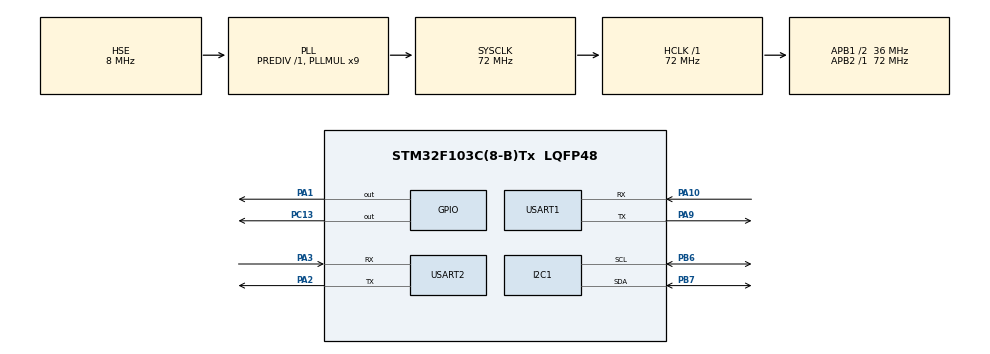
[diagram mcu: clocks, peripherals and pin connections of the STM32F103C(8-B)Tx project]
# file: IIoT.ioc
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FREERTOS.Tasks01=defaultTask,8,186,StartDefaultTask,Default,NULL,Dynamic,NULL,NULL;SensorTask,24,100,Sensor_Ctrl_Task,Default,NULL,Dynamic,NULL,NULL;ModbusTask,32,100,Modbus_Task,Default,NULL,Dynamic,NULL,NULL
FREERTOS.configMINIMAL_STACK_SIZE=64
FREERTOS.configTOTAL_HEAP_SIZE=10240
Mcu.Family=STM32F1
Mcu.Name=STM32F103C(8-B)Tx
Mcu.Package=LQFP48
NVIC.PriorityGroup=NVIC_PRIORITYGROUP_4
NVIC.TIM2_IRQn=true\:5\:0\:false\:false\:true\:true\:true\:true\:true
NVIC.TIM4_IRQn=true\:15\:0\:false\:false\:true\:false\:false\:true\:true
NVIC.TimeBase=TIM4_IRQn
NVIC.TimeBaseIP=TIM4
NVIC.USART1_IRQn=true\:5\:0\:false\:false\:true\:true\:true\:true\:true
NVIC.USART2_IRQn=true\:5\:0\:false\:false\:true\:true\:true\:true\:true
PA1.GPIO_ModeDefaultOutputPP=GPIO_MODE_OUTPUT_OD
PA1.GPIO_PuPd=GPIO_PULLUP
PA1.Signal=GPIO_Output
PA10.Mode=Asynchronous
PA10.Signal=USART1_RX
PA13.Mode=Serial_Wire
PA13.Signal=SYS_JTMS-SWDIO
PA14.Mode=Serial_Wire
PA14.Signal=SYS_JTCK-SWCLK
PA2.Mode=Asynchronous
PA2.Signal=USART2_TX
PA3.Mode=Asynchronous
PA3.Signal=USART2_RX
PA9.Mode=Asynchronous
PA9.Signal=USART1_TX
PB6.Mode=I2C
PB6.Signal=I2C1_SCL
PB7.Mode=I2C
PB7.Signal=I2C1_SDA
PC13-TAMPER-RTC.Signal=GPIO_Output
PC14-OSC32_IN.Mode=LSE-External-Oscillator
PC14-OSC32_IN.Signal=RCC_OSC32_IN
PC15-OSC32_OUT.Mode=LSE-External-Oscillator
PC15-OSC32_OUT.Signal=RCC_OSC32_OUT
PD0-OSC_IN.Mode=HSE-External-Oscillator
PD0-OSC_IN.Signal=RCC_OSC_IN
PD1-OSC_OUT.Mode=HSE-External-Oscillator
PD1-OSC_OUT.Signal=RCC_OSC_OUT
ProjectManager.HeapSize=0x200
ProjectManager.StackSize=0x400
ProjectManager.TargetToolchain=CMake
RCC.AHBFreq_Value=72000000
RCC.APB1CLKDivider=RCC_HCLK_DIV2
RCC.APB1Freq_Value=36000000
RCC.APB1TimFreq_Value=72000000
RCC.APB2Freq_Value=72000000
RCC.APB2TimFreq_Value=72000000
RCC.HCLKFreq_Value=72000000
RCC.PLLMUL=RCC_PLL_MUL9
RCC.PLLSourceVirtual=RCC_PLLSOURCE_HSE
RCC.SYSCLKFreq_VALUE=72000000
RCC.SYSCLKSource=RCC_SYSCLKSOURCE_PLLCLK
RCC.USBFreq_Value=72000000
TIM2.Period=50
TIM2.Prescaler=7199
TIM3.Prescaler=71
USART1.VirtualMode=VM_ASYNC
USART2.VirtualMode=VM_ASYNC
VP_FREERTOS_VS_CMSIS_V2.Mode=CMSIS_V2
VP_SYS_VS_tim4.Mode=TIM4
VP_TIM2_VS_ClockSourceINT.Mode=Internal
VP_TIM3_VS_ClockSourceINT.Mode=Internal
board=custom

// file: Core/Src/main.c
/* USER CODE BEGIN Header */
/**
  ******************************************************************************
  * @file           : main.c
  * @brief          : Main program body
  ******************************************************************************
  * @attention
  *
  * Copyright (c) 2026 STMicroelectronics.
  * All rights reserved.
  *
  * This software is licensed under terms that can be found in the LICENSE file
  * in the root directory of this software component.
  * If no LICENSE file comes with this software, it is provided AS-IS.
  *
  ******************************************************************************
  */
/* USER CODE END Header */
#include "main.h"
#include "cmsis_os.h"

/* USER CODE BEGIN Includes */
#include "queue.h"
#include "semphr.h"
#include "driver_oled.h"
#include "ds18b20.h"
#include "stdio.h"
#include "modbus.h"

/* USER CODE END Includes */

I2C_HandleTypeDef hi2c1;

TIM_HandleTypeDef htim2;
TIM_HandleTypeDef htim3;

UART_HandleTypeDef huart1;
UART_HandleTypeDef huart2;

/* Definitions for defaultTask */
osThreadId_t defaultTaskHandle;
const osThreadAttr_t defaultTask_attributes = {
  .name = "defaultTask",
  .stack_size = 186 * 4,
  .priority = (osPriority_t) osPriorityLow,
};
/* Definitions for SensorTask */
osThreadId_t SensorTaskHandle;
const osThreadAttr_t SensorTask_attributes = {
  .name = "SensorTask",
  .stack_size = 100 * 4,
  .priority = (osPriority_t) osPriorityNormal,
};
/* Definitions for ModbusTask */
osThreadId_t ModbusTaskHandle;
const osThreadAttr_t ModbusTask_attributes = {
  .name = "ModbusTask",
  .stack_size = 100 * 4,
  .priority = (osPriority_t) osPriorityAboveNormal,
};
/* USER CODE BEGIN PV */

QueueHandle_t g_xQueue;
SemaphoreHandle_t g_xMutex;
SemaphoreHandle_t g_Modbus_Rx_Sem;
SemaphoreHandle_t g_xUpdateTrigger;
volatile UBaseType_t g_defaultTask_WaterMark = 0;
volatile UBaseType_t g_SensorTask_WaterMark = 0;
volatile UBaseType_t g_ModbusTask_WaterMark = 0;
/* USER CODE END PV */

void SystemClock_Config(void);
static void MX_GPIO_Init(void);
static void MX_I2C1_Init(void);
static void MX_USART1_UART_Init(void);
static void MX_TIM2_Init(void);
static void MX_TIM3_Init(void);
static void MX_USART2_UART_Init(void);
void StartDefaultTask(void *argument);
void Sensor_Ctrl_Task(void *argument);
void Modbus_Task(void *argument);

int main(void)
{

  /* MCU Configuration--------------------------------------------------------*/

  /* Reset of all peripherals, Initializes the Flash interface and the Systick. */
  HAL_Init();

  /* Configure the system clock */
  SystemClock_Config();

  /* Initialize all configured peripherals */
  MX_GPIO_Init();
  MX_I2C1_Init();
  MX_USART1_UART_Init();
  MX_TIM2_Init();
  MX_TIM3_Init();
  MX_USART2_UART_Init();
  /* USER CODE BEGIN 2 */
  OLED_Init();
	// 清屏
	OLED_Clear();
  g_xMutex = xSemaphoreCreateMutex();
  if (g_xMutex == NULL) {
    while (1)
    {
      HAL_GPIO_TogglePin(GPIOC, GPIO_PIN_13);
      HAL_Delay(100);
    }
  }
  g_xQueue = xQueueCreate(6, sizeof(Data_t));
  if (g_xQueue == NULL) {
    while (1)
    {
      HAL_GPIO_TogglePin(GPIOC, GPIO_PIN_13);
      HAL_Delay(100);
    }
  }
  g_Modbus_Rx_Sem = xSemaphoreCreateBinary();
  if (g_Modbus_Rx_Sem == NULL) {
    while (1)
    {
      HAL_GPIO_TogglePin(GPIOC, GPIO_PIN_13);
      HAL_Delay(100);
    }
  }

  g_xUpdateTrigger = xSemaphoreCreateBinary();
  if (g_xUpdateTrigger == NULL) {
    while (1)
    {
      HAL_GPIO_TogglePin(GPIOC, GPIO_PIN_13);
      HAL_Delay(100);
    }
  }

  __HAL_TIM_CLEAR_IT(&htim2, TIM_IT_UPDATE);
  __HAL_TIM_ENABLE_IT(&htim2, TIM_IT_UPDATE);

  /* USER CODE END 2 */

  /* Init scheduler */
  osKernelInitialize();

  /* Create the thread(s) */
  /* creation of defaultTask */
  defaultTaskHandle = osThreadNew(StartDefaultTask, NULL, &defaultTask_attributes);

  /* creation of SensorTask */
  SensorTaskHandle = osThreadNew(Sensor_Ctrl_Task, NULL, &SensorTask_attributes);

  /* creation of ModbusTask */
  ModbusTaskHandle = osThreadNew(Modbus_Task, NULL, &ModbusTask_attributes);

  /* Start scheduler */
  osKernelStart();

  /* We should never get here as control is now taken by the scheduler */

  /* Infinite loop */
  while (1)
  {

  }
}

void SystemClock_Config(void)
{
  RCC_OscInitTypeDef RCC_OscInitStruct = {0};
  RCC_ClkInitTypeDef RCC_ClkInitStruct = {0};

  /** Initializes the RCC Oscillators according to the specified parameters
  * in the RCC_OscInitTypeDef structure.
  */
  RCC_OscInitStruct.OscillatorType = RCC_OSCILLATORTYPE_HSE;
  RCC_OscInitStruct.HSEState = RCC_HSE_ON;
  RCC_OscInitStruct.HSEPredivValue = RCC_HSE_PREDIV_DIV1;
  RCC_OscInitStruct.HSIState = RCC_HSI_ON;
  RCC_OscInitStruct.PLL.PLLState = RCC_PLL_ON;
  RCC_OscInitStruct.PLL.PLLSource = RCC_PLLSOURCE_HSE;
  RCC_OscInitStruct.PLL.PLLMUL = RCC_PLL_MUL9;
  if (HAL_RCC_OscConfig(&RCC_OscInitStruct) != HAL_OK)
  {
    Error_Handler();
  }

  /** Initializes the CPU, AHB and APB buses clocks
  */
  RCC_ClkInitStruct.ClockType = RCC_CLOCKTYPE_HCLK|RCC_CLOCKTYPE_SYSCLK
                              |RCC_CLOCKTYPE_PCLK1|RCC_CLOCKTYPE_PCLK2;
  RCC_ClkInitStruct.SYSCLKSource = RCC_SYSCLKSOURCE_PLLCLK;
  RCC_ClkInitStruct.AHBCLKDivider = RCC_SYSCLK_DIV1;
  RCC_ClkInitStruct.APB1CLKDivider = RCC_HCLK_DIV2;
  RCC_ClkInitStruct.APB2CLKDivider = RCC_HCLK_DIV1;

  if (HAL_RCC_ClockConfig(&RCC_ClkInitStruct, FLASH_LATENCY_2) != HAL_OK)
  {
    Error_Handler();
  }
}

static void MX_I2C1_Init(void)
{

  hi2c1.Instance = I2C1;
  hi2c1.Init.ClockSpeed = 100000;
  hi2c1.Init.DutyCycle = I2C_DUTYCYCLE_2;
  hi2c1.Init.OwnAddress1 = 0;
  hi2c1.Init.AddressingMode = I2C_ADDRESSINGMODE_7BIT;
  hi2c1.Init.DualAddressMode = I2C_DUALADDRESS_DISABLE;
  hi2c1.Init.OwnAddress2 = 0;
  hi2c1.Init.GeneralCallMode = I2C_GENERALCALL_DISABLE;
  hi2c1.Init.NoStretchMode = I2C_NOSTRETCH_DISABLE;
  if (HAL_I2C_Init(&hi2c1) != HAL_OK)
  {
    Error_Handler();
  }

}

static void MX_TIM2_Init(void)
{

  TIM_ClockConfigTypeDef sClockSourceConfig = {0};
  TIM_MasterConfigTypeDef sMasterConfig = {0};

  htim2.Instance = TIM2;
  htim2.Init.Prescaler = 7199;
  htim2.Init.CounterMode = TIM_COUNTERMODE_UP;
  htim2.Init.Period = 50;
  htim2.Init.ClockDivision = TIM_CLOCKDIVISION_DIV1;
  htim2.Init.AutoReloadPreload = TIM_AUTORELOAD_PRELOAD_DISABLE;
  if (HAL_TIM_Base_Init(&htim2) != HAL_OK)
  {
    Error_Handler();
  }
  sClockSourceConfig.ClockSource = TIM_CLOCKSOURCE_INTERNAL;
  if (HAL_TIM_ConfigClockSource(&htim2, &sClockSourceConfig) != HAL_OK)
  {
    Error_Handler();
  }
  sMasterConfig.MasterOutputTrigger = TIM_TRGO_RESET;
  sMasterConfig.MasterSlaveMode = TIM_MASTERSLAVEMODE_DISABLE;
  if (HAL_TIMEx_MasterConfigSynchronization(&htim2, &sMasterConfig) != HAL_OK)
  {
    Error_Handler();
  }

}

static void MX_TIM3_Init(void)
{

  TIM_ClockConfigTypeDef sClockSourceConfig = {0};
  TIM_MasterConfigTypeDef sMasterConfig = {0};

  htim3.Instance = TIM3;
  htim3.Init.Prescaler = 71;
  htim3.Init.CounterMode = TIM_COUNTERMODE_UP;
  htim3.Init.Period = 65535;
  htim3.Init.ClockDivision = TIM_CLOCKDIVISION_DIV1;
  htim3.Init.AutoReloadPreload = TIM_AUTORELOAD_PRELOAD_DISABLE;
  if (HAL_TIM_Base_Init(&htim3) != HAL_OK)
  {
    Error_Handler();
  }
  sClockSourceConfig.ClockSource = TIM_CLOCKSOURCE_INTERNAL;
  if (HAL_TIM_ConfigClockSource(&htim3, &sClockSourceConfig) != HAL_OK)
  {
    Error_Handler();
  }
  sMasterConfig.MasterOutputTrigger = TIM_TRGO_RESET;
  sMasterConfig.MasterSlaveMode = TIM_MASTERSLAVEMODE_DISABLE;
  if (HAL_TIMEx_MasterConfigSynchronization(&htim3, &sMasterConfig) != HAL_OK)
  {
    Error_Handler();
  }

}

static void MX_USART1_UART_Init(void)
{

  huart1.Instance = USART1;
  huart1.Init.BaudRate = 115200;
  huart1.Init.WordLength = UART_WORDLENGTH_8B;
  huart1.Init.StopBits = UART_STOPBITS_1;
  huart1.Init.Parity = UART_PARITY_NONE;
  huart1.Init.Mode = UART_MODE_TX_RX;
  huart1.Init.HwFlowCtl = UART_HWCONTROL_NONE;
  huart1.Init.OverSampling = UART_OVERSAMPLING_16;
  if (HAL_UART_Init(&huart1) != HAL_OK)
  {
    Error_Handler();
  }

}

static void MX_USART2_UART_Init(void)
{

  huart2.Instance = USART2;
  huart2.Init.BaudRate = 115200;
  huart2.Init.WordLength = UART_WORDLENGTH_8B;
  huart2.Init.StopBits = UART_STOPBITS_1;
  huart2.Init.Parity = UART_PARITY_NONE;
  huart2.Init.Mode = UART_MODE_TX_RX;
  huart2.Init.HwFlowCtl = UART_HWCONTROL_NONE;
  huart2.Init.OverSampling = UART_OVERSAMPLING_16;
  if (HAL_UART_Init(&huart2) != HAL_OK)
  {
    Error_Handler();
  }

}

static void MX_GPIO_Init(void)
{
  GPIO_InitTypeDef GPIO_InitStruct = {0};

  /* GPIO Ports Clock Enable */
  __HAL_RCC_GPIOC_CLK_ENABLE();
  __HAL_RCC_GPIOD_CLK_ENABLE();
  __HAL_RCC_GPIOA_CLK_ENABLE();
  __HAL_RCC_GPIOB_CLK_ENABLE();

  /*Configure GPIO pin Output Level */
  HAL_GPIO_WritePin(GPIOC, GPIO_PIN_13, GPIO_PIN_RESET);

  /*Configure GPIO pin Output Level */
  HAL_GPIO_WritePin(GPIOA, GPIO_PIN_1, GPIO_PIN_RESET);

  /*Configure GPIO pin : PC13 */
  GPIO_InitStruct.Pin = GPIO_PIN_13;
  GPIO_InitStruct.Mode = GPIO_MODE_OUTPUT_PP;
  GPIO_InitStruct.Pull = GPIO_NOPULL;
  GPIO_InitStruct.Speed = GPIO_SPEED_FREQ_LOW;
  HAL_GPIO_Init(GPIOC, &GPIO_InitStruct);

  /*Configure GPIO pin : PA1 */
  GPIO_InitStruct.Pin = GPIO_PIN_1;
  GPIO_InitStruct.Mode = GPIO_MODE_OUTPUT_OD;
  GPIO_InitStruct.Pull = GPIO_PULLUP;
  GPIO_InitStruct.Speed = GPIO_SPEED_FREQ_LOW;
  HAL_GPIO_Init(GPIOA, &GPIO_InitStruct);

}

void StartDefaultTask(void *argument)
{
  /* USER CODE BEGIN 5 */
  Data_t recv_data;
  char disp_buf[16];

  int16_t local_ang, local_loc, local_tar, local_kp;

  extern uint32_t g_param_cooldown;

  __HAL_UART_ENABLE_IT(&huart1, UART_IT_RXNE);
  __HAL_UART_ENABLE_IT(&huart2, UART_IT_RXNE);

  /* Infinite loop */
  for(;;)
  {
    if (xQueueReceive(g_xQueue, &recv_data, portMAX_DELAY) == pdTRUE)
    {
      while (xQueueReceive(g_xQueue, &recv_data, 0) == pdTRUE) {}

      xSemaphoreTake(g_xMutex, portMAX_DELAY); // 上锁

      sys_regs.current_angle = recv_data.angle;
      sys_regs.current_location = recv_data.location;

      if (HAL_GetTick() >= g_param_cooldown)
      {
          sys_regs.target_location = recv_data.target_location;
          sys_regs.angle_kp = recv_data.angle_kp;
          sys_regs.angle_ki = recv_data.angle_ki;
          sys_regs.angle_kd = recv_data.angle_kd;
          sys_regs.location_kp = recv_data.location_kp;
          sys_regs.location_ki = recv_data.location_ki;
          sys_regs.location_kd = recv_data.location_kd;
          sys_regs.run_mode = recv_data.run_mode;
      }

      local_ang = sys_regs.current_angle;
      local_loc = sys_regs.current_location;
      local_tar = sys_regs.target_location;
      local_kp = sys_regs.angle_kp;

      xSemaphoreGive(g_xMutex); // 解锁

      sprintf(disp_buf, "Ang:%-6d", local_ang);
      OLED_PrintString(0, 0, disp_buf);

      sprintf(disp_buf, "Loc:%-6d", local_loc);
      OLED_PrintString(0, 2, disp_buf);

      sprintf(disp_buf, "Tar:%-6d", local_tar);
      OLED_PrintString(0, 4, disp_buf);

      sprintf(disp_buf, "Kp:%-6d", local_kp);
      OLED_PrintString(0, 6, disp_buf);

      g_defaultTask_WaterMark = uxTaskGetStackHighWaterMark(NULL);
      vTaskDelay(pdMS_TO_TICKS(10));
    }
    else {
      HAL_GPIO_TogglePin(GPIOC, GPIO_PIN_13);  // LED 闪烁证明活着
      vTaskDelay(100);
    }
  }
  /* USER CODE END 5 */
}

void Sensor_Ctrl_Task(void *argument)
{
  /* USER CODE BEGIN Sensor_Ctrl_Task */
  uint8_t tx_frame[20];
  uint8_t sum = 0;
  /* Infinite loop */
  for(;;)
  {
    if (xSemaphoreTake(g_xUpdateTrigger, portMAX_DELAY) == pdTRUE)
    {
      xSemaphoreTake(g_xMutex, portMAX_DELAY);

      tx_frame[0] = 0xAA;
      tx_frame[1] = 0x55;
      tx_frame[2] = 0x03;
      tx_frame[3] = 15;

      tx_frame[4] = (sys_regs.target_location >> 8) & 0xFF;
      tx_frame[5] = sys_regs.target_location & 0xFF;
      tx_frame[6] = (sys_regs.angle_kp >> 8) & 0xFF;
      tx_frame[7] = sys_regs.angle_kp & 0xFF;
      tx_frame[8] = (sys_regs.angle_ki >> 8) & 0xFF;
      tx_frame[9] = sys_regs.angle_ki & 0xFF;
      tx_frame[10] = (sys_regs.angle_kd >> 8) & 0xFF;
      tx_frame[11] = sys_regs.angle_kd & 0xFF;

      tx_frame[12] = (sys_regs.location_kp >> 8) & 0xFF;
      tx_frame[13] = sys_regs.location_kp & 0xFF;
      tx_frame[14] = (sys_regs.location_ki >> 8) & 0xFF;
      tx_frame[15] = sys_regs.location_ki & 0xFF;
      tx_frame[16] = (sys_regs.location_kd >> 8) & 0xFF;
      tx_frame[17] = sys_regs.location_kd & 0xFF;
      tx_frame[18] = sys_regs.run_mode;

      xSemaphoreGive(g_xMutex);

      sum = 0;
      for (int i = 0; i < 19; i++) sum += tx_frame[i];
      tx_frame[19] = sum;

      HAL_UART_Transmit(&huart2, tx_frame, 20, 100);
    }
    g_SensorTask_WaterMark = uxTaskGetStackHighWaterMark(NULL);
    vTaskDelay(pdMS_TO_TICKS(10));
  }
  /* USER CODE END Sensor_Ctrl_Task */
}

void Modbus_Task(void *argument)
{
  /* USER CODE BEGIN Modbus_Task */
  /* Infinite loop */
  for(;;)
  {
    if (xSemaphoreTake(g_Modbus_Rx_Sem, portMAX_DELAY) == pdTRUE)
    {
      mb_state = MB_STATE_PROCESSING;

      Modbus_Process();

      rx_len = 0;
      mb_state = MB_STATE_IDLE;
    }
    g_ModbusTask_WaterMark = uxTaskGetStackHighWaterMark(NULL);
    vTaskDelay(pdMS_TO_TICKS(10));
  }
  /* USER CODE END Modbus_Task */
}

void HAL_TIM_PeriodElapsedCallback(TIM_HandleTypeDef *htim)
{
  if (htim->Instance == TIM4)
  {
    HAL_IncTick();
  }
}

void Error_Handler(void)
{
  __disable_irq();
  while (1)
  {
  }
}
